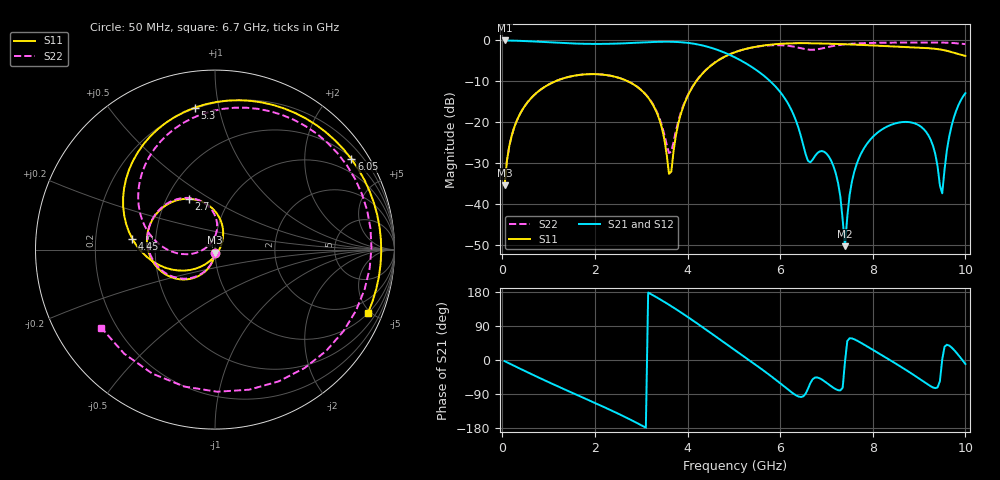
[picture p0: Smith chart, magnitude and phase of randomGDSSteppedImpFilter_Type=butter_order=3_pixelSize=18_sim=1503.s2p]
! freq	dB(S11)	phase(S11)	dB(S12)	phase(S12)
!  dB(S21)	phase(S21)	dB(S22)	phase(S22)
!S-par simulation data
#  GHz  S  DB  R 50
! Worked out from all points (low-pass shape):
!   200 points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, 50 MHz to 10 GHz, reference 50 ohm
!   highest |S21| = 0.00 dB at 50 MHz (marker M1); lowest = -50.3 dB at 7.4 GHz (marker M2)
!   |S21| within 3 dB of the highest: start of sweep to 4.804 GHz
!   lowest |S11| = -35.4 dB at 50 MHz (marker M3), VSWR 1.03, Z = 49.9 - j1.7 ohm
!   |S11| at or under -10 dB: start of sweep to 1.141 GHz; 2.714 GHz to 4.188 GHz (1.474 GHz wide, 42.7 % of centre)
!   |S22| runs from -35.4 to -0.5 dB; largest |S21 - S12| = 0
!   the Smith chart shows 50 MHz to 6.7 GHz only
!   S11 on the Smith chart (normalised r, x): 50 MHz: 1.00, -0.03; 2.7 GHz: 0.64, +0.41; 4.45 GHz: 0.37, +0.05; 5.3 GHz: 0.19, +0.85; 6.05 GHz: 0.54, +3.23; 6.7 GHz: 1.03, -4.85
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0.05  -35.37 -92.9  -0.00 -3.0  -0.00 -3.0  -35.38 -93.0
0.5  -15.78 -119.8  -0.16 -29.8  -0.16 -29.8  -15.79 -120.9
1.75  -8.32 171.3  -0.82 -99.7  -0.82 -99.7  -8.32 168.4
2.7  -9.92 117.5  -0.67 -153.3  -0.67 -153.3  -9.90 116.1
3.4  -19.57 64.2  -0.33 160.6  -0.33 160.6  -19.18 84.5
3.65  -32.02 -68.7  -0.33 141.9  -0.33 141.9  -27.19 155.1
3.9  -16.42 -135.4  -0.47 122.1  -0.47 122.1  -16.13 -170.5
4.45  -6.68 172.8  -1.60 75.7  -1.60 75.7  -6.63 153.8
5.05  -2.77 119.7  -4.29 23.9  -4.29 23.9  -2.76 103.9
5.3  -1.95 98.0  -5.86 2.3  -5.86 2.3  -1.96 82.0
6.05  -0.80 33.6  -13.33 -66.1  -13.33 -66.1  -1.19 0.6
6.45  -0.67 -0.9  -23.46 -97.7  -23.46 -97.7  -1.90 -76.3
6.7  -0.70 -22.4  -29.16 -51.0  -29.16 -51.0  -2.28 -145.6
7.15  -0.83 -60.8  -30.67 -73.2  -30.67 -73.2  -1.35 112.3
7.4  -0.92 -82.5  -50.26 -4.3  -50.26 -4.3  -0.95 79.2
7.65  -1.04 -104.6  -30.27 51.8  -30.27 51.8  -0.74 55.1
8.35  -1.42 -171.2  -20.82 1.4  -20.82 1.4  -0.54 9.8
9.1  -1.82 95.6  -21.66 -57.3  -21.66 -57.3  -0.50 -23.7
9.5  -2.29 19.6  -37.35 1.8  -37.35 1.8  -0.52 -39.2
9.55  -2.40 7.6  -31.50 35.2  -31.50 35.2  -0.53 -41.1
9.8  -3.16 -63.6  -17.21 20.3  -17.21 20.3  -0.69 -50.4
10  -3.78 -130.9  -12.89 -10.5  -12.89 -10.5  -0.89 -56.8
